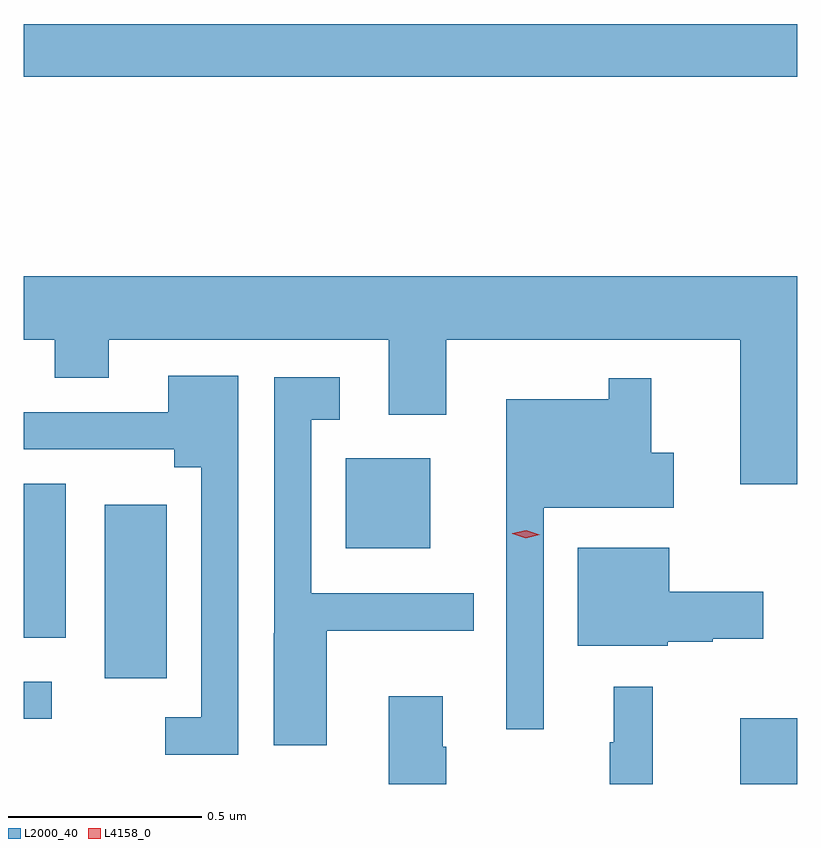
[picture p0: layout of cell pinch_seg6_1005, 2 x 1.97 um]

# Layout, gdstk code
import gdstk
lib = gdstk.Library(unit=1e-6, precision=1e-09)
def R(c, l, rs):  # rectangles x0, y0, x1, y1
    for r in rs: c.add(gdstk.rectangle(r[:2], r[2:], *l))
def P(c, l, *ps):  # polygons
    for p in ps: c.add(gdstk.Polygon(p, *l))
L2000_40 = (2000, 40)
L4158_0 = (4158, 0)

pinch_seg6_1005 = lib.new_cell('pinch_seg6_1005')
R(pinch_seg6_1005, L2000_40, [(272.9,936.863,273.047,937.033), (271.047,937.032,271.12,937.128), (271.256,937.137,271.417,937.585), (271.047,937.241,271.156,937.639), (271.88,937.472,272.098,937.705), (271.047,938.692,273.047,938.828)])
P(pinch_seg6_1005, L2000_40, [(273.047,938.176),(271.047,938.176),(271.047,938.012),(271.127,938.012),(271.127,937.913),(271.267,937.913),(271.267,938.012),(271.991,938.012),(271.991,937.818),(272.14,937.818),(272.14,938.012),(272.9,938.012),(272.9,937.638),(273.047,937.638)],
  [(271.602,937.918),(271.421,937.918),(271.421,937.824),(271.047,937.824),(271.047,937.728),(271.436,937.728),(271.436,937.682),(271.506,937.682),(271.506,937.035),(271.413,937.035),(271.413,936.939),(271.602,936.939)],
  [(271.831,937.259),(272.21,937.259),(272.21,937.356),(271.791,937.356),(271.791,937.805),(271.864,937.805),(271.864,937.915),(271.695,937.915),(271.695,937.253),(271.694,937.253),(271.694,936.963),(271.831,936.963)],
  [(272.391,937.577),(272.728,937.577),(272.728,937.719),(272.67,937.719),(272.67,937.912),(272.559,937.912),(272.559,937.858),(272.294,937.858),(272.294,937.481),(272.295,937.481),(272.295,937.005),(272.391,937.005)],
  [(272.712,937.231),(272.829,937.231),(272.829,937.238),(272.959,937.238),(272.959,937.36),(272.716,937.36),(272.716,937.474),(272.48,937.474),(272.48,937.22),(272.712,937.22)],
  [(272.673,937.114),(272.573,937.114),(272.573,936.971),(272.562,936.971),(272.562,936.863),(272.673,936.863)],
  [(272.139,936.959),(272.131,936.959),(272.131,937.09),(271.991,937.09),(271.991,936.863),(272.139,936.863)])
P(pinch_seg6_1005, L4158_0, [(272.345,937.499),(272.31,937.51),(272.31,937.511),(272.31,937.511),(272.346,937.519),(272.381,937.508),(272.381,937.508),(272.381,937.507)])

lib.write_gds('pinch_seg6_1005.gds')
